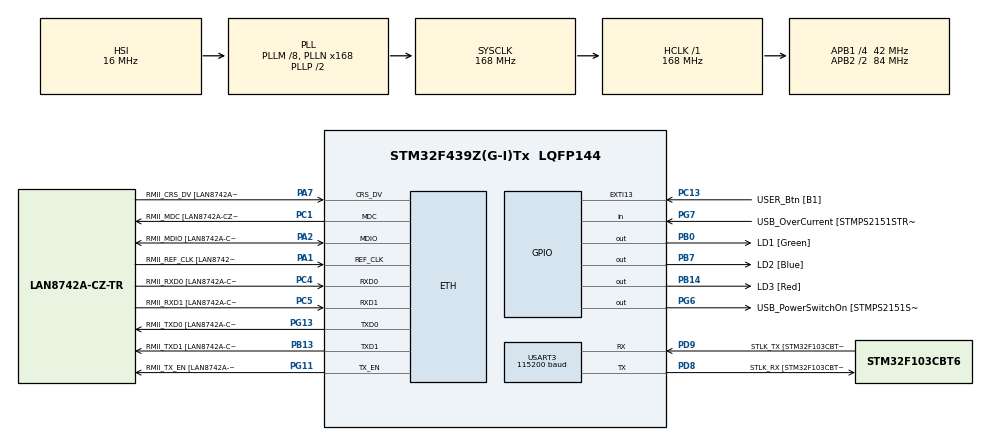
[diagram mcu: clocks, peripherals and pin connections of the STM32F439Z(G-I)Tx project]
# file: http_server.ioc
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ETH.MACAddr=00\:80\:E1\:00\:00\:00
ETH.MediaInterface=HAL_ETH_RMII_MODE
ETH.RxBuffLen=1536
ETH.RxMode=ETH_RXINTERRUPT_MODE
FREERTOS.HEAP_NUMBER=4
FREERTOS.INCLUDE_eTaskGetState=0
FREERTOS.INCLUDE_pcTaskGetTaskName=0
FREERTOS.INCLUDE_uxTaskGetStackHighWaterMark=0
FREERTOS.INCLUDE_uxTaskGetStackHighWaterMark2=0
FREERTOS.INCLUDE_uxTaskPriorityGet=1
FREERTOS.INCLUDE_vTaskCleanUpResources=0
FREERTOS.INCLUDE_vTaskDelay=1
FREERTOS.INCLUDE_vTaskDelayUntil=0
FREERTOS.INCLUDE_vTaskDelete=1
FREERTOS.INCLUDE_vTaskPrioritySet=1
FREERTOS.INCLUDE_vTaskSuspend=1
FREERTOS.INCLUDE_xEventGroupSetBitFromISR=0
FREERTOS.INCLUDE_xQueueGetMutexHolder=0
FREERTOS.INCLUDE_xSemaphoreGetMutexHolder=0
FREERTOS.INCLUDE_xTaskAbortDelay=0
FREERTOS.INCLUDE_xTaskGetCurrentTaskHandle=0
FREERTOS.INCLUDE_xTaskGetHandle=0
FREERTOS.INCLUDE_xTaskResumeFromISR=1
FREERTOS.MEMORY_ALLOCATION=2
FREERTOS.Tasks01=defaultTask,0,256,StartDefaultTask,Default,NULL,Static,defaultTaskBuffer,defaultTaskControlBlock
FREERTOS.configCHECK_FOR_STACK_OVERFLOW=0
FREERTOS.configENABLE_BACKWARD_COMPATIBILITY=1
FREERTOS.configENABLE_FPU=0
FREERTOS.configGENERATE_RUN_TIME_STATS=0
FREERTOS.configIDLE_SHOULD_YIELD=1
FREERTOS.configLIBRARY_LOWEST_INTERRUPT_PRIORITY=15
FREERTOS.configLIBRARY_MAX_SYSCALL_INTERRUPT_PRIORITY=5
FREERTOS.configMAX_CO_ROUTINE_PRIORITIES=2
FREERTOS.configMAX_PRIORITIES=7
FREERTOS.configMAX_TASK_NAME_LEN=16
FREERTOS.configMINIMAL_STACK_SIZE=128
FREERTOS.configQUEUE_REGISTRY_SIZE=8
FREERTOS.configRECORD_STACK_HIGH_ADDRESS=0
FREERTOS.configTICK_RATE_HZ=1000
FREERTOS.configTOTAL_HEAP_SIZE=15360
FREERTOS.configUSE_APPLICATION_TASK_TAG=0
FREERTOS.configUSE_COUNTING_SEMAPHORES=0
FREERTOS.configUSE_CO_ROUTINES=0
FREERTOS.configUSE_DAEMON_TASK_STARTUP_HOOK=0
FREERTOS.configUSE_IDLE_HOOK=0
FREERTOS.configUSE_MALLOC_FAILED_HOOK=0
FREERTOS.configUSE_MUTEXES=1
FREERTOS.configUSE_NEWLIB_REENTRANT=1
FREERTOS.configUSE_POSIX_ERRNO=0
FREERTOS.configUSE_PREEMPTION=1
FREERTOS.configUSE_RECURSIVE_MUTEXES=0
FREERTOS.configUSE_STATS_FORMATTING_FUNCTIONS=0
FREERTOS.configUSE_TASK_NOTIFICATIONS=1
FREERTOS.configUSE_TICKLESS_IDLE=0
FREERTOS.configUSE_TICK_HOOK=0
FREERTOS.configUSE_TIMERS=0
FREERTOS.configUSE_TRACE_FACILITY=0
FREERTOS.copyHeapFile=1
LWIP.API_LIB_DEBUG=LWIP_DBG_OFF
LWIP.API_MSG_DEBUG=LWIP_DBG_OFF
LWIP.ARP_MAXAGE=300
LWIP.ARP_QUEUEING=0
LWIP.ARP_QUEUE_LEN=3
LWIP.ARP_TABLE_SIZE=10
LWIP.AUTOIP_DEBUG=LWIP_DBG_OFF
LWIP.BSP.number=1
LWIP.CBCP_SUPPORT=0
LWIP.CCP_SUPPORT=0
LWIP.CHAP_DEFTIMEOUT=6
LWIP.CHAP_DEFTRANSMITS=10
LWIP.CHAP_SUPPORT=0
LWIP.CHECKSUM_BY_HARDWARE=1
LWIP.CHECKSUM_CHECK_ICMP=1
LWIP.CHECKSUM_CHECK_ICMP6=0
LWIP.CHECKSUM_CHECK_IP=0
LWIP.CHECKSUM_CHECK_TCP=0
LWIP.CHECKSUM_CHECK_UDP=0
LWIP.CHECKSUM_GEN_ICMP=0
LWIP.CHECKSUM_GEN_ICMP6=0
LWIP.CHECKSUM_GEN_IP=0
LWIP.CHECKSUM_GEN_TCP=0
LWIP.CHECKSUM_GEN_UDP=0
LWIP.DEFAULT_ACCEPTMBOX_SIZE=6
LWIP.DEFAULT_RAW_RECVMBOX_SIZE=0
LWIP.DEFAULT_TCP_RECVMBOX_SIZE=6
LWIP.DEFAULT_THREAD_NAME="lwIP"
LWIP.DEFAULT_THREAD_PRIO=3
LWIP.DEFAULT_THREAD_STACKSIZE=1024
LWIP.DEFAULT_UDP_RECVMBOX_SIZE=6
LWIP.DEMAND_SUPPORT=0
LWIP.DHCP6_DEBUG=LWIP_DBG_OFF
LWIP.DHCP_DEBUG=LWIP_DBG_OFF
LWIP.DHCP_DOES_ARP_CHECK=0
LWIP.DNS_DEBUG=LWIP_DBG_OFF
LWIP.DNS_DOES_NAME_CHECK=1
LWIP.DNS_LOCAL_HOSTLIST=0
LWIP.DNS_LOCAL_HOSTLIST_IS_DYNAMIC=0
LWIP.DNS_MAX_NAME_LENGTH=256
LWIP.DNS_MAX_RETRIES=4
LWIP.DNS_MAX_SERVERS=2
LWIP.DNS_TABLE_SIZE=4
LWIP.EAP_DEFALLOWREQ=10
LWIP.EAP_DEFREQTIME=6
LWIP.EAP_SUPPORT=0
LWIP.ECP_SUPPORT=0
LWIP.ETHARP_DEBUG=LWIP_DBG_OFF
LWIP.ETHARP_STATS=0
LWIP.ETHARP_SUPPORT_STATIC_ENTRIES=0
LWIP.ETHARP_SUPPORT_VLAN=0
LWIP.ETHARP_TABLE_MATCH_NETIF=1
LWIP.ETH_PAD_SIZE=0
LWIP.ETH_RX_BUFFER_CNT=12
LWIP.FSM_DEFMAXCONFREQS=10
LWIP.FSM_DEFMAXNAKLOOPS=5
LWIP.FSM_DEFMAXTERMREQS=2
LWIP.FSM_DEFTIMEOUT=6
LWIP.GATEWAY_ADDRESS=192.168.001.001
LWIP.HTTPD_DEBUG=LWIP_DBG_OFF
LWIP.HTTPD_DEBUG_TIMING=LWIP_DBG_OFF
LWIP.HTTPD_USE_CUSTOM_FSDATA=1
LWIP.ICMP6_STATS=0
LWIP.ICMP_DEBUG=LWIP_DBG_OFF
LWIP.ICMP_STATS=0
LWIP.ICMP_TTL=255
LWIP.IGMP_DEBUG=LWIP_DBG_OFF
LWIP.IGMP_STATS=0
LWIP.INET_DEBUG=LWIP_DBG_OFF
LWIP.IP6_DEBUG=LWIP_DBG_OFF
LWIP.IP6_FRAG_STATS=0
LWIP.IP6_STATS=0
LWIP.IPFRAG_STATS=0
LWIP.IPV6_REASS_MAXAGE=60
LWIP.IP_ADDRESS=192.168.001.250
LWIP.IP_DEBUG=LWIP_DBG_OFF
LWIP.IP_DEFAULT_TTL=255
LWIP.IP_FORWARD=0
LWIP.IP_FORWARD_ALLOW_TX_ON_RX_NETIF=0
LWIP.IP_FRAG=1
LWIP.IP_OPTIONS_ALLOWED=1
LWIP.IP_REASSEMBLY=1
LWIP.IP_REASS_DEBUG=LWIP_DBG_OFF
LWIP.IP_REASS_MAXAGE=15
LWIP.IP_REASS_MAX_PBUFS=10
LWIP.IP_SOF_BROADCAST=0
LWIP.IP_SOF_BROADCAST_RECV=0
LWIP.IP_STATS=0
LWIP.LCP_DEFLOOPBACKFAIL=10
LWIP.LCP_ECHOINTERVAL=0
LWIP.LCP_MAXECHOFAILS=3
LWIP.LINK_STATS=0
LWIP.LQR_SUPPORT=0
LWIP.LWIP_ALLOW_MEM_FREE_FROM_OTHER_CONTEXT=0
LWIP.LWIP_ALTCP=0
LWIP.LWIP_ALTCP_TLS=0
LWIP.LWIP_ARP=1
LWIP.LWIP_AUTOIP=0
LWIP.LWIP_BROADCAST_PING=0
LWIP.LWIP_CALLBACK_API=1
LWIP.LWIP_CHECKSUM_CTRL_PER_NETIF=0
LWIP.LWIP_CHECKSUM_ON_COPY=0
LWIP.LWIP_COMPAT_SOCKETS=1
LWIP.LWIP_DBG_MIN_LEVEL=LWIP_DBG_LEVEL_ALL
LWIP.LWIP_DBG_TYPES_ON=LWIP_DBG_ON
LWIP.LWIP_DHCP=0
LWIP.LWIP_DHCP6_GET_NTP_SRV=0
LWIP.LWIP_DHCP6_MAX_DNS_SERVERS=2
LWIP.LWIP_DHCP6_MAX_NTP_SERVERS=1
LWIP.LWIP_DHCP_AUTOIP_COOP=0
LWIP.LWIP_DHCP_AUTOIP_COOP_TRIES=9
LWIP.LWIP_DHCP_BOOTP_FILE=0
LWIP.LWIP_DHCP_GET_NTP_SRV=0
LWIP.LWIP_DHCP_MAX_DNS_SERVERS=2
LWIP.LWIP_DHCP_MAX_NTP_SERVERS=1
LWIP.LWIP_DISABLE_MEMP_SANITY_CHECKS=0
LWIP.LWIP_DISABLE_TCP_SANITY_CHECKS=0
LWIP.LWIP_DNS=1
LWIP.LWIP_DNS_SECURE=7
LWIP.LWIP_DNS_SUPPORT_MDNS_QUERIES=0
LWIP.LWIP_ETHERNET=1
LWIP.LWIP_EVENT_API=0
LWIP.LWIP_FIONREAD_LINUXMODE=0
LWIP.LWIP_HAVE_LOOPIF=0
LWIP.LWIP_HTTPD=1
LWIP.LWIP_HTTPD_CGI=0
LWIP.LWIP_HTTPD_CGI_SSI=0
LWIP.LWIP_HTTPD_CUSTOM_FILES=1
LWIP.LWIP_HTTPD_DYNAMIC_HEADERS=0
LWIP.LWIP_HTTPD_FILE_STATE=1
LWIP.LWIP_HTTPD_SSI=1
LWIP.LWIP_HTTPD_SSI_BY_FILE_EXTENSION=0
LWIP.LWIP_HTTPD_SSI_RAW=1
LWIP.LWIP_HTTPD_SUPPORT_POST=1
LWIP.LWIP_ICMP=1
LWIP.LWIP_ICMP6=0
LWIP.LWIP_ICMP6_DATASIZE=8
LWIP.LWIP_ICMP6_HL=255
LWIP.LWIP_IGMP=0
LWIP.LWIP_INCLUDED_POLARSSL_ARC4=0
LWIP.LWIP_INCLUDED_POLARSSL_DES=0
LWIP.LWIP_INCLUDED_POLARSSL_MD4=0
LWIP.LWIP_INCLUDED_POLARSSL_MD5=0
LWIP.LWIP_INCLUDED_POLARSSL_SHA1=0
LWIP.LWIP_IPV4=1
LWIP.LWIP_IPV6=0
LWIP.LWIP_IPV6_ADDRESS_LIFETIMES=0
LWIP.LWIP_IPV6_AUTOCONFIG=0
LWIP.LWIP_IPV6_DHCP6=0
LWIP.LWIP_IPV6_DHCP6_STATEFUL=0
LWIP.LWIP_IPV6_DHCP6_STATELESS=0
LWIP.LWIP_IPV6_DUP_DETECT_ATTEMPTS=1
LWIP.LWIP_IPV6_FORWARD=0
LWIP.LWIP_IPV6_FRAG=1
LWIP.LWIP_IPV6_MLD=0
LWIP.LWIP_IPV6_NUM_ADDRESSES=3
LWIP.LWIP_IPV6_REASS=0
LWIP.LWIP_IPV6_SCOPES=0
LWIP.LWIP_IPV6_SCOPES_DEBUG=0
LWIP.LWIP_IPV6_SEND_ROUTER_SOLICIT=1
LWIP.LWIP_LOOPBACK_MAX_PBUFS=0
LWIP.LWIP_LOOPIF_MULTICAST=0
LWIP.LWIP_MDNS=0
LWIP.LWIP_MIB2_CALLBACKS=0
LWIP.LWIP_MPU_COMPATIBLE=0
LWIP.LWIP_MULTICAST_PING=0
LWIP.LWIP_MULTICAST_TX_OPTIONS=0
LWIP.LWIP_ND6_ALLOW_RA_UPDATES=1
LWIP.LWIP_ND6_DELAY_FIRST_PROBE_TIME=5000
LWIP.LWIP_ND6_MAX_ANYCAST_DELAY_TIME=1000
LWIP.LWIP_ND6_MAX_MULTICAST_SOLICIT=3
LWIP.LWIP_ND6_MAX_NEIGHBOR_ADVERTISEMENT=3
LWIP.LWIP_ND6_MAX_UNICAST_SOLICIT=3
LWIP.LWIP_ND6_NUM_DESTINATIONS=10
LWIP.LWIP_ND6_NUM_NEIGHBORS=10
LWIP.LWIP_ND6_NUM_PREFIXES=5
LWIP.LWIP_ND6_NUM_ROUTERS=3
LWIP.LWIP_ND6_QUEUEING=0
LWIP.LWIP_ND6_RDNSS_MAX_DNS_SERVERS=0
LWIP.LWIP_ND6_REACHABLE_TIME=30000
LWIP.LWIP_ND6_RETRANS_TIMER=1000
LWIP.LWIP_ND6_TCP_REACHABILITY_HINTS=1
LWIP.LWIP_NETBUF_RECVINFO=0
LWIP.LWIP_NETCONN=1
LWIP.LWIP_NETCONN_FULLDUPLEX=0
LWIP.LWIP_NETCONN_SEM_PER_THREAD=0
LWIP.LWIP_NETIF_API=0
LWIP.LWIP_NETIF_EXT_STATUS_CALLBACK=0
LWIP.LWIP_NETIF_HOSTNAME=0
LWIP.LWIP_NETIF_HWADDRHINT=0
LWIP.LWIP_NETIF_LINK_CALLBACK=1
LWIP.LWIP_NETIF_LOOPBACK=0
LWIP.LWIP_NETIF_LOOPBACK_MULTITHREADING=1
LWIP.LWIP_NETIF_REMOVE_CALLBACK=0
LWIP.LWIP_NETIF_STATUS_CALLBACK=0
LWIP.LWIP_NETIF_TX_SINGLE_PBUF=0
LWIP.LWIP_NUM_NETIF_CLIENT_DATA=0
LWIP.LWIP_PBUF_REF_T=u8_t
LWIP.LWIP_PERF=0
LWIP.LWIP_POSIX_SOCKETS_IO_NAMES=1
LWIP.LWIP_PPP_API=0
LWIP.LWIP_RAW=0
LWIP.LWIP_SINGLE_NETIF=0
LWIP.LWIP_SMTP=0
LWIP.LWIP_SNMP=0
LWIP.LWIP_SNMP_CONFIGURE_VERSIONS=0
LWIP.LWIP_SNMP_V3=0
LWIP.LWIP_SNMP_V3_CRYPTO=0
LWIP.LWIP_SNMP_V3_MBEDTLS=0
LWIP.LWIP_SNTP=0
LWIP.LWIP_SOCKET=1
LWIP.LWIP_SOCKET_OFFSET=0
LWIP.LWIP_SOCKET_POLL=1
LWIP.LWIP_SOCKET_SELECT=1
LWIP.LWIP_SO_LINGER=0
LWIP.LWIP_SO_RCVBUF=0
LWIP.LWIP_SO_RCVTIMEO=0
LWIP.LWIP_SO_SNDRCVTIMEO_NONSTANDARD=0
LWIP.LWIP_SO_SNDTIMEO=0
LWIP.LWIP_STATS=0
LWIP.LWIP_STATS_DISPLAY=0
LWIP.LWIP_SUPPORT_CUSTOM_PBUF=1
LWIP.LWIP_TCP=1
LWIP.LWIP_TCPIP_CORE_LOCKING=0
LWIP.LWIP_TCPIP_CORE_LOCKING_INPUT=0
LWIP.LWIP_TCPIP_TIMEOUT=0
LWIP.LWIP_TCP_CLOSE_TIMEOUT_MS_DEFAULT=20000
LWIP.LWIP_TCP_KEEPALIVE=0
LWIP.LWIP_TCP_MAX_SACK_NUM=4
LWIP.LWIP_TCP_PCB_NUM_EXT_ARGS=0
LWIP.LWIP_TCP_SACK_OUT=0
LWIP.LWIP_TCP_TIMESTAMPS=0
LWIP.LWIP_TESTMODE=0
LWIP.LWIP_TFTP=0
LWIP.LWIP_TIMERS=1
LWIP.LWIP_TIMERS_CUSTOM=0
LWIP.LWIP_UDP=1
LWIP.LWIP_UDPLITE=0
LWIP.LWIP_USE_EXTERNAL_MBEDTLS=0
LWIP.LWIP_USE_EXTERNAL_POLARSSL=0
LWIP.LWIP_WND_SCALE=0
LWIP.MAXNAMELEN=256
LWIP.MAXSECRETLEN=256
LWIP.MDNS_DEBUG=LWIP_DBG_OFF
LWIP.MEMP_DEBUG=LWIP_DBG_OFF
LWIP.MEMP_MEM_INIT=0
LWIP.MEMP_MEM_MALLOC=0
LWIP.MEMP_NUM_API_MSG=8
LWIP.MEMP_NUM_ARP_QUEUE=30
LWIP.MEMP_NUM_DNS_API_MSG=8
LWIP.MEMP_NUM_FRAG_PBUF=15
LWIP.MEMP_NUM_IGMP_GROUP=8
LWIP.MEMP_NUM_LOCALHOSTLIST=1
LWIP.MEMP_NUM_MLD6_GROUP=4
LWIP.MEMP_NUM_ND6_QUEUE=20
LWIP.MEMP_NUM_NETBUF=2
LWIP.MEMP_NUM_NETCONN=4
LWIP.MEMP_NUM_NETDB=1
LWIP.MEMP_NUM_NETIFAPI_MSG=8
LWIP.MEMP_NUM_PBUF=16
LWIP.MEMP_NUM_PPPOE_INTERFACES=1
LWIP.MEMP_NUM_PPPOL2TP_INTERFACES=1
LWIP.MEMP_NUM_PPPOS_INTERFACES=1
LWIP.MEMP_NUM_PPP_API_MSG=5
LWIP.MEMP_NUM_PPP_PCB=1
LWIP.MEMP_NUM_RAW_PCB=4
LWIP.MEMP_NUM_REASSDATA=5
LWIP.MEMP_NUM_SELECT_CB=4
LWIP.MEMP_NUM_SOCKET_SETGETSOCKOPT_DATA=8
LWIP.MEMP_NUM_SYS_TIMEOUT=4
LWIP.MEMP_NUM_TCPIP_MSG_API=8
LWIP.MEMP_NUM_TCPIP_MSG_INPKT=8
LWIP.MEMP_NUM_TCP_PCB=5
LWIP.MEMP_NUM_TCP_PCB_LISTEN=8
LWIP.MEMP_NUM_TCP_SEG=16
LWIP.MEMP_NUM_UDP_PCB=4
LWIP.MEMP_OVERFLOW_CHECK=0
LWIP.MEMP_SANITY_CHECK=0
LWIP.MEMP_STATS=0
LWIP.MEMP_USE_CUSTOM_POOLS=0
LWIP.MEM_ALIGNMENT=4
LWIP.MEM_DEBUG=LWIP_DBG_OFF
LWIP.MEM_LIBC_MALLOC=0
LWIP.MEM_OVERFLOW_CHECK=0
LWIP.MEM_SANITY_CHECK=0
LWIP.MEM_SIZE=1024
LWIP.MEM_STATS=0
LWIP.MEM_USE_POOLS=0
LWIP.MEM_USE_POOLS_TRY_BIGGER_POOL=0
LWIP.MIB2_STATS=0
LWIP.MLD6_STATS=0
LWIP.MPPE_SUPPORT=0
LWIP.MSCHAP_SUPPORT=0
LWIP.ND6_STATS=0
LWIP.NETIF_DEBUG=LWIP_DBG_OFF
LWIP.NETMASK_ADDRESS=255.255.255.000
LWIP.NO_SYS=0
LWIP.PAP_SUPPORT=0
LWIP.PBUF_DEBUG=LWIP_DBG_OFF
LWIP.PBUF_LINK_ENCAPSULATION_HLEN=0
LWIP.PBUF_LINK_HLEN=14
LWIP.PBUF_POOL_BUFSIZE=592
LWIP.PBUF_POOL_SIZE=16
LWIP.PPPOE_SUPPORT=0
LWIP.PPPOL2TP_AUTH_SUPPORT=0
LWIP.PPPOL2TP_SUPPORT=0
LWIP.PPPOS_SUPPORT=0
LWIP.PPP_DEBUG=LWIP_DBG_OFF
LWIP.PPP_DEFMRU=1500
LWIP.PPP_FCS_TABLE=1
LWIP.PPP_INPROC_IRQ_SAFE=0
LWIP.PPP_IPV4_SUPPORT=1
LWIP.PPP_IPV6_SUPPORT=0
LWIP.PPP_MAXIDLEFLAG=100
LWIP.PPP_MAXMRU=1500
LWIP.PPP_MD5_RANDM=0
LWIP.PPP_MINMRU=128
LWIP.PPP_MRU=1500
LWIP.PPP_NOTIFY_PHASE=0
LWIP.PPP_NUM_TIMEOUTS=0
LWIP.PPP_NUM_TIMEOUTS_PER_PCB=2
LWIP.PPP_SERVER=0
LWIP.PPP_SUPPORT=0
LWIP.PPP_USE_PBUF_RAM=0
LWIP.PRINTPKT_SUPPORT=0
LWIP.RAW_DEBUG=LWIP_DBG_OFF
LWIP.RAW_TTL=255
LWIP.RECV_BUFSIZE_DEFAULT=2000000000
LWIP.SLIPIF_THREAD_NAME="slipif_loop"
LWIP.SLIPIF_THREAD_PRIO=3
LWIP.SLIPIF_THREAD_STACKSIZE=1024
LWIP.SLIP_DEBUG=LWIP_DBG_OFF
LWIP.SMTP_DEBUG=LWIP_DBG_OFF
LWIP.SNMP_DEBUG=LWIP_DBG_OFF
LWIP.SNMP_LWIP_MIB2=0
LWIP.SNMP_MIB_DEBUG=LWIP_DBG_OFF
LWIP.SNMP_USE_NETCONN=0
LWIP.SNMP_USE_RAW=1
LWIP.SNTP_DEBUG=LWIP_DBG_OFF
LWIP.SOCKETS_DEBUG=LWIP_DBG_OFF
LWIP.SO_REUSE=0
LWIP.SO_REUSE_RXTOALL=0
LWIP.SYS_DEBUG=LWIP_DBG_OFF
LWIP.SYS_LIGHTWEIGHT_PROT=1
LWIP.SYS_STATS=0
LWIP.TCPIP_DEBUG=LWIP_DBG_OFF
LWIP.TCPIP_MBOX_SIZE=6
LWIP.TCPIP_THREAD_NAME="tcpip_thread"
LWIP.TCPIP_THREAD_PRIO=3
LWIP.TCPIP_THREAD_STACKSIZE=1024
LWIP.TCP_CALCULATE_EFF_SEND_MSS=1
LWIP.TCP_CWND_DEBUG=LWIP_DBG_OFF
LWIP.TCP_DEBUG=LWIP_DBG_OFF
LWIP.TCP_DEFAULT_LISTEN_BACKLOG=255
LWIP.TCP_FR_DEBUG=LWIP_DBG_OFF
LWIP.TCP_INPUT_DEBUG=LWIP_DBG_OFF
LWIP.TCP_LISTEN_BACKLOG=0
LWIP.TCP_MAXRTX=12
LWIP.TCP_MSS=536
LWIP.TCP_OOSEQ_BYTES_LIMIT(pcb)=0
LWIP.TCP_OOSEQ_MAX_BYTES=0
LWIP.TCP_OOSEQ_MAX_PBUFS=0
LWIP.TCP_OOSEQ_PBUFS_LIMIT(pcb)=0
LWIP.TCP_OUTPUT_DEBUG=LWIP_DBG_OFF
LWIP.TCP_OVERSIZE=TCP_MSS
LWIP.TCP_QLEN_DEBUG=LWIP_DBG_OFF
LWIP.TCP_QUEUE_OOSEQ=1
LWIP.TCP_RCV_SCALE=0
LWIP.TCP_RST_DEBUG=LWIP_DBG_OFF
LWIP.TCP_RTO_DEBUG=LWIP_DBG_OFF
LWIP.TCP_SNDLOWAT=1071
LWIP.TCP_SNDQUEUELOWAT=5
LWIP.TCP_SND_BUF=1072
LWIP.TCP_SND_QUEUELEN=9
LWIP.TCP_STATS=0
LWIP.TCP_SYNMAXRTX=6
LWIP.TCP_TTL=255
LWIP.TCP_WND=2144
LWIP.TCP_WND_DEBUG=LWIP_DBG_OFF
LWIP.TCP_WND_UPDATE_THRESHOLD=536
LWIP.TFTP_DEBUG=LWIP_DBG_OFF
LWIP.TIMERS_DEBUG=LWIP_DBG_OFF
LWIP.UDP_DEBUG=LWIP_DBG_OFF
LWIP.UDP_STATS=0
LWIP.UDP_TTL=255
LWIP.UPAP_DEFREQTIME=30
LWIP.UPAP_DEFTIMEOUT=6
LWIP.UPAP_DEFTRANSMITS=10
LWIP.VJ_SUPPORT=0
LWIP.Version=v2.1.2_Cube
LWIP0.BSP.STBoard=false
LWIP0.BSP.api=BSP_COMPONENT_DRIVER
LWIP0.BSP.component=LAN8742
LWIP0.BSP.instance=LAN8742
LWIP0.BSP.name=Driver_PHY
LWIP0.BSP.semaphore=S_LAN8742
LWIP0.BSP.solution=LAN8742
Mcu.Family=STM32F4
Mcu.Name=STM32F439Z(G-I)Tx
Mcu.Package=LQFP144
NVIC.ETH_IRQn=true\:5\:0\:false\:false\:true\:true\:false\:true\:true
NVIC.PriorityGroup=NVIC_PRIORITYGROUP_4
NVIC.TIM6_DAC_IRQn=true\:0\:0\:false\:false\:true\:false\:true\:true\:true
NVIC.TIM7_IRQn=true\:0\:0\:true\:false\:true\:false\:true\:true\:true
NVIC.TimeBase=TIM7_IRQn
NVIC.TimeBaseIP=TIM7
NVIC.USART3_IRQn=true\:0\:0\:true\:false\:true\:false\:true\:true\:true
PA1.GPIO_Label=RMII_REF_CLK [LAN8742A-CZ-TR_REFCLK0]
PA1.Mode=RMII
PA1.Signal=ETH_REF_CLK
PA10.GPIO_Label=USB_ID
PA10.Signal=USB_OTG_FS_ID
PA11.GPIO_Label=USB_DM
PA11.Signal=USB_OTG_FS_DM
PA12.GPIO_Label=USB_DP
PA12.Signal=USB_OTG_FS_DP
PA13.GPIO_Label=TMS
PA13.Mode=Serial_Wire
PA13.Signal=SYS_JTMS-SWDIO
PA14.GPIO_Label=TCK
PA14.Mode=Serial_Wire
PA14.Signal=SYS_JTCK-SWCLK
PA2.GPIO_Label=RMII_MDIO [LAN8742A-CZ-TR_MDIO]
PA2.Mode=RMII
PA2.Signal=ETH_MDIO
PA7.GPIO_Label=RMII_CRS_DV [LAN8742A-CZ-TR_CRS_DV]
PA7.Mode=RMII
PA7.Signal=ETH_CRS_DV
PA8.GPIO_Label=USB_SOF [TP1]
PA8.Signal=USB_OTG_FS_SOF
PA9.GPIO_Label=USB_VBUS
PA9.Signal=USB_OTG_FS_VBUS
PB0.GPIO_Label=LD1 [Green]
PB0.Signal=GPIO_Output
PB13.GPIO_Label=RMII_TXD1 [LAN8742A-CZ-TR_TXD1]
PB13.Mode=RMII
PB13.Signal=ETH_TXD1
PB14.GPIO_Label=LD3 [Red]
PB14.Signal=GPIO_Output
PB7.GPIO_Label=LD2 [Blue]
PB7.Signal=GPIO_Output
PC1.GPIO_Label=RMII_MDC [LAN8742A-CZ-TR_MDC]
PC1.Mode=RMII
PC1.Signal=ETH_MDC
PC13.GPIO_Label=USER_Btn [B1]
PC13.Signal=GPXTI13
PC14/OSC32_IN.Mode=LSE-External-Oscillator
PC14/OSC32_IN.Signal=RCC_OSC32_IN
PC15/OSC32_OUT.Mode=LSE-External-Oscillator
PC15/OSC32_OUT.Signal=RCC_OSC32_OUT
PC4.GPIO_Label=RMII_RXD0 [LAN8742A-CZ-TR_RXD0]
PC4.Mode=RMII
PC4.Signal=ETH_RXD0
PC5.GPIO_Label=RMII_RXD1 [LAN8742A-CZ-TR_RXD1]
PC5.Mode=RMII
PC5.Signal=ETH_RXD1
PD8.GPIO_Label=STLK_RX [STM32F103CBT6_PA3]
PD8.Mode=Asynchronous
PD8.Signal=USART3_TX
PD9.GPIO_Label=STLK_TX [STM32F103CBT6_PA2]
PD9.Mode=Asynchronous
PD9.Signal=USART3_RX
PG11.GPIO_Label=RMII_TX_EN [LAN8742A-CZ-TR_TXEN]
PG11.Mode=RMII
PG11.Signal=ETH_TX_EN
PG13.GPIO_Label=RMII_TXD0 [LAN8742A-CZ-TR_TXD0]
PG13.Mode=RMII
PG13.Signal=ETH_TXD0
PG6.GPIO_Label=USB_PowerSwitchOn [STMPS2151STR_EN]
PG6.Signal=GPIO_Output
PG7.GPIO_Label=USB_OverCurrent [STMPS2151STR_FAULT]
PG7.Signal=GPIO_Input
PH0/OSC_IN.GPIO_Label=MCO [STM32F103CBT6_PA8]
PH0/OSC_IN.Mode=HSE-External-Clock-Source
PH0/OSC_IN.Signal=RCC_OSC_IN
PH1/OSC_OUT.Mode=HSE-External-Clock-Source
PH1/OSC_OUT.Signal=RCC_OSC_OUT
ProjectManager.HeapSize=0x200
ProjectManager.StackSize=0x400
ProjectManager.TargetToolchain=STM32CubeIDE
RCC.48MHZClocksFreq_Value=48000000
RCC.AHBFreq_Value=168000000
RCC.APB1CLKDivider=RCC_HCLK_DIV4
RCC.APB1Freq_Value=42000000
RCC.APB1TimFreq_Value=84000000
RCC.APB2CLKDivider=RCC_HCLK_DIV2
RCC.APB2Freq_Value=84000000
RCC.APB2TimFreq_Value=168000000
RCC.CortexFreq_Value=168000000
RCC.FLatency=FLASH_LATENCY_5
RCC.HCLKFreq_Value=168000000
RCC.HSE_VALUE=25000000
RCC.HSI_VALUE=16000000
RCC.PLLM=8
RCC.PLLN=168
RCC.PLLQ=7
RCC.PWR_Regulator_Voltage_Scale=PWR_REGULATOR_VOLTAGE_SCALE1
RCC.SYSCLKFreq_VALUE=168000000
RCC.SYSCLKSource=RCC_SYSCLKSOURCE_PLLCLK
RCC.VCOOutputFreq_Value=336000000
TIM6.Prescaler=83
USART3.BaudRate=115200
USART3.Mode=MODE_TX_RX
USART3.OverSampling=UART_OVERSAMPLING_16
USART3.Parity=PARITY_NONE
USART3.StopBits=STOPBITS_1
USART3.VirtualMode=VM_ASYNC
USART3.WordLength=WORDLENGTH_8B
VP_FREERTOS_VS_CMSIS_V1.Mode=CMSIS_V1
VP_LWIP_VS_Enabled.Mode=Enabled
VP_SYS_VS_tim7.Mode=TIM7
VP_TIM6_VS_ClockSourceINT.Mode=Enable_Timer
board=custom

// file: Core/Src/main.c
/* USER CODE BEGIN Header */
/**
  ******************************************************************************
  * @file           : main.c
  * @brief          : Main program body
  ******************************************************************************
  * @attention
  *
  * Copyright (c) 2026 STMicroelectronics.
  * All rights reserved.
  *
  * This software is licensed under terms that can be found in the LICENSE file
  * in the root directory of this software component.
  * If no LICENSE file comes with this software, it is provided AS-IS.
  *
  ******************************************************************************
  */
/* USER CODE END Header */
#include "main.h"
#include "cmsis_os.h"
#include "tim.h"
#include "usart.h"
#include "gpio.h"

/* USER CODE BEGIN Includes */
#include "lwip.h"
#include "console.h"
#include "debug_uart.h"
#include "version.h"
/* USER CODE END Includes */

void SystemClock_Config(void);
void MX_FREERTOS_Init(void);

int main(void)
{

  /* MCU Configuration--------------------------------------------------------*/

  /* Reset of all peripherals, Initializes the Flash interface and the Systick. */
  HAL_Init();

  /* Configure the system clock */
  SystemClock_Config();

  /* Initialize all configured peripherals */
  MX_GPIO_Init();
  MX_USART3_UART_Init();
  MX_TIM6_Init();
  /* USER CODE BEGIN 2 */
  debug_init();
  conpln("Firmware version %s", FIRMWARE_VERSION);
  MX_LWIP_Init();
  /* USER CODE END 2 */

  /* Call init function for freertos objects (in cmsis_os2.c) */
  MX_FREERTOS_Init();

  /* Start scheduler */
  osKernelStart();

  /* We should never get here as control is now taken by the scheduler */

  /* Infinite loop */
  while (1)
  {

  }
}

void SystemClock_Config(void)
{
  RCC_OscInitTypeDef RCC_OscInitStruct = {0};
  RCC_ClkInitTypeDef RCC_ClkInitStruct = {0};

  /** Configure the main internal regulator output voltage
  */
  __HAL_RCC_PWR_CLK_ENABLE();
  __HAL_PWR_VOLTAGESCALING_CONFIG(PWR_REGULATOR_VOLTAGE_SCALE1);

  /** Initializes the RCC Oscillators according to the specified parameters
  * in the RCC_OscInitTypeDef structure.
  */
  RCC_OscInitStruct.OscillatorType = RCC_OSCILLATORTYPE_HSI;
  RCC_OscInitStruct.HSIState = RCC_HSI_ON;
  RCC_OscInitStruct.HSICalibrationValue = RCC_HSICALIBRATION_DEFAULT;
  RCC_OscInitStruct.PLL.PLLState = RCC_PLL_ON;
  RCC_OscInitStruct.PLL.PLLSource = RCC_PLLSOURCE_HSI;
  RCC_OscInitStruct.PLL.PLLM = 8;
  RCC_OscInitStruct.PLL.PLLN = 168;
  RCC_OscInitStruct.PLL.PLLP = RCC_PLLP_DIV2;
  RCC_OscInitStruct.PLL.PLLQ = 7;
  if (HAL_RCC_OscConfig(&RCC_OscInitStruct) != HAL_OK)
  {
    Error_Handler();
  }

  /** Initializes the CPU, AHB and APB buses clocks
  */
  RCC_ClkInitStruct.ClockType = RCC_CLOCKTYPE_HCLK|RCC_CLOCKTYPE_SYSCLK
                              |RCC_CLOCKTYPE_PCLK1|RCC_CLOCKTYPE_PCLK2;
  RCC_ClkInitStruct.SYSCLKSource = RCC_SYSCLKSOURCE_PLLCLK;
  RCC_ClkInitStruct.AHBCLKDivider = RCC_SYSCLK_DIV1;
  RCC_ClkInitStruct.APB1CLKDivider = RCC_HCLK_DIV4;
  RCC_ClkInitStruct.APB2CLKDivider = RCC_HCLK_DIV2;

  if (HAL_RCC_ClockConfig(&RCC_ClkInitStruct, FLASH_LATENCY_5) != HAL_OK)
  {
    Error_Handler();
  }
}

void HAL_TIM_PeriodElapsedCallback(TIM_HandleTypeDef *htim)
{
  if (htim->Instance == TIM7) {
    HAL_IncTick();
  }
}

void Error_Handler(void)
{
  __disable_irq();
  while (1)
  {
  }
}

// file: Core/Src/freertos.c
/* USER CODE BEGIN Header */
/**
  ******************************************************************************
  * File Name          : freertos.c
  * Description        : Code for freertos applications
  ******************************************************************************
  * @attention
  *
  * Copyright (c) 2026 STMicroelectronics.
  * All rights reserved.
  *
  * This software is licensed under terms that can be found in the LICENSE file
  * in the root directory of this software component.
  * If no LICENSE file comes with this software, it is provided AS-IS.
  *
  ******************************************************************************
  */
/* USER CODE END Header */

#include "fs_handler.h"
#include "post_handler.h"
#include "FreeRTOS.h"
#include "task.h"
#include "main.h"
#include "cmsis_os.h"

/* USER CODE BEGIN Includes */
#include "lwip/apps/httpd.h"
#include "lwip/netif.h"
#include "lwip/netifapi.h"
#include "console.h"
#include "session.h"
#include "settings.h"
#include "ip_format.h"
#include "sensor.h"
/* USER CODE END Includes */

/* USER CODE BEGIN Variables */
extern struct netif gnetif;
QueueHandle_t mainTaskQH = NULL;

/* USER CODE END Variables */
osThreadId defaultTaskHandle;
uint32_t defaultTaskBuffer[ 512 ];
osStaticThreadDef_t defaultTaskControlBlock;

void StartDefaultTask(void const * argument);

void MX_FREERTOS_Init(void); /* (MISRA C 2004 rule 8.1) */

/* GetIdleTaskMemory prototype (linked to static allocation support) */
void vApplicationGetIdleTaskMemory( StaticTask_t **ppxIdleTaskTCBBuffer, StackType_t **ppxIdleTaskStackBuffer, uint32_t *pulIdleTaskStackSize );

/* USER CODE BEGIN GET_IDLE_TASK_MEMORY */
static StaticTask_t xIdleTaskTCBBuffer;
static StackType_t xIdleStack[configMINIMAL_STACK_SIZE];

void vApplicationGetIdleTaskMemory( StaticTask_t **ppxIdleTaskTCBBuffer, StackType_t **ppxIdleTaskStackBuffer, uint32_t *pulIdleTaskStackSize )
{
  *ppxIdleTaskTCBBuffer = &xIdleTaskTCBBuffer;
  *ppxIdleTaskStackBuffer = &xIdleStack[0];
  *pulIdleTaskStackSize = configMINIMAL_STACK_SIZE;
  /* place for user code */
}
/* USER CODE END GET_IDLE_TASK_MEMORY */

void MX_FREERTOS_Init(void) {

  /* Create the thread(s) */
  /* definition and creation of defaultTask */
  osThreadStaticDef(defaultTask, StartDefaultTask, osPriorityNormal, 0, 256, defaultTaskBuffer, &defaultTaskControlBlock);
  defaultTaskHandle = osThreadCreate(osThread(defaultTask), NULL);

}

/* USER CODE BEGIN Header_StartDefaultTask */
/**
 * @brief Main application task (system initialization + runtime service loop).
 *
 * This task acts as the central coordinator of the firmware. It is responsible for:
 *  - Creating the main message queue used for asynchronous configuration updates
 *  - Initializing HTTP server layers (fs handler, POST handler, sessions)
 *  - Loading persistent settings from internal Flash (with CRC validation)
 *  - Applying network configuration to lwIP netif
 *  - Periodically updating the sensor cache
 *  - Processing configuration update requests received from other modules (REST/CLI)
 *
 * Design notes:
 *  - A static FreeRTOS queue is used to avoid heap allocations.
 *  - Network reconfiguration and Flash writes are performed in this task to keep
 *    the HTTP callbacks lightweight and deterministic.
 */
/* USER CODE END Header_StartDefaultTask */
void StartDefaultTask(void const * argument)
{
  /* USER CODE BEGIN StartDefaultTask */
  (void)argument;

  TOSMessage msg;
  static Flash_settings Settings;

  /* Create a small, statically allocated message queue for configuration updates. */
  static uint8_t mainTaskQS[2 * sizeof(TOSMessage)];
  static StaticQueue_t mainTaskQ;
  mainTaskQH = xQueueCreateStatic(2, sizeof(TOSMessage), mainTaskQS, &mainTaskQ);

  /* Initialize HTTP server integration layers (lwIP httpd hooks + session store). */
  fs_handlers_init();
  post_handlers_init();
  sessions_init();
  httpd_init();

  /* Initialize external sensor driver (readout is performed periodically in the loop). */
  init_sensor();

  conpln(GREEN "DefaultTask: start" CLRST);

  /* Load settings from Flash. If CRC check fails, restore defaults and save them. */
  if(settings_init(&Settings) == INT_FLASH_ERR)
  {
    conpln("Saving default settings to flash");
    flash_write_settings();
    get_settings(&Settings);
  }

  /* Apply network configuration to lwIP interface. */
  conpln("MAC: " MAC_FORMAT , MAC_PARAMS(gnetif.hwaddr));
  conpln("Static IP: " CYAN IPv4_FORMAT CLRST, IPv4_PARAMS(Settings.IP));
  netifapi_netif_set_addr(&gnetif,
                          (ip4_addr_t*)&Settings.IP,
                          (ip4_addr_t*)&Settings.mask,
                          (ip4_addr_t*)&Settings.gate);

  /* Main service loop:
   *  - handle asynchronous update messages
   *  - refresh sensor readings
   */
  for(;;)
  {
    /* Process queued requests (e.g., from REST endpoints) */
    if (xQueueReceive(mainTaskQH, &msg, 1000) == pdTRUE) {
      switch (msg.msg) {
      case OSMSG_NONE: break;

      case OSMSG_UPDATE_IP:
        /* Apply new IP settings and save them to internal Flash. */
        osDelay(1000);
        flash_update_settings(&msg.new_settings);
        get_settings(&Settings);
        conpln("New static IP: " CYAN IPv4_FORMAT CLRST " from CLI", IPv4_PARAMS(Settings.IP));
        netifapi_netif_set_addr(&gnetif, (ip4_addr_t*)&Settings.IP, (ip4_addr_t*)&Settings.mask, (ip4_addr_t*)&Settings.gate);
        flash_write_settings();
        break;

      case OSMSG_UPDATE_SETTINGS:
        /* Update authentication/settings data and save them to internal Flash. */
        osDelay(1000);
        flash_update_settings(&msg.new_settings);
        if(flash_write_settings() == INT_FLASH_OK)
          conpln("Settings updated");
        break;
      }
    }

    /* Periodically update cached sensor values (REST reads are non-blocking). */
    update_sensor();
    osDelay(200);
  }
  /* USER CODE END StartDefaultTask */
}
